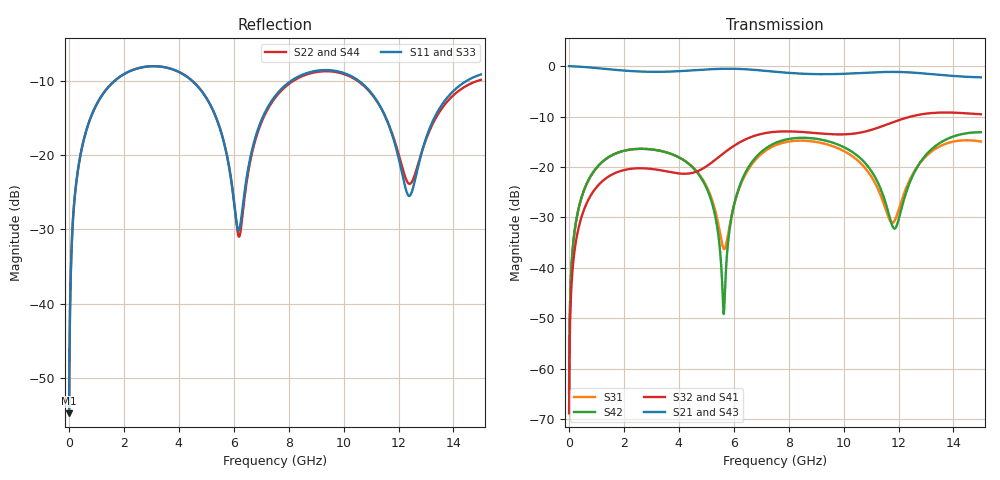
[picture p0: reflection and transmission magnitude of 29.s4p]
! Created with skrf 1.8.0 (http://scikit-rf.org).
# GHz S RI R 50.0
!freq ReS11 ImS11 ReS12 ImS12 ReS13 ImS13
! ReS14 ImS14
! ReS21 ImS21 ReS22 ImS22 ReS23 ImS23
! ReS24 ImS24
! ReS31 ImS31 ReS32 ImS32 ReS33 ImS33
! ReS34 ImS34
! ReS41 ImS41 ReS42 ImS42 ReS43 ImS43
! ReS44 ImS44
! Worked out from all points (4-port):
!   2499 points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, 5 MHz to 15 GHz, reference 50 ohm
!   strongest paths, dB at 5 MHz, 3.476 GHz, 7.19 GHz, 11.1 GHz, 15 GHz:
!     S21: 0.0, -1.1, -1.0, -1.2, -2.2
!     S43: 0.0, -1.1, -1.0, -1.2, -2.2
!     S32: -68.9, -20.8, -13.2, -12.5, -9.6
!     S41: -68.9, -20.8, -13.3, -12.5, -9.6
!     S42: -65.0, -17.0, -16.2, -21.6, -13.1
!     S31: -65.0, -17.0, -16.7, -22.7, -15.0
!   lowest |S11| = -54.8 dB at 5 MHz (marker M1), VSWR 1.00, Z = 50.1 + j0.111 ohm
!   |S11| at or under -10 dB: start of sweep to 1.67 GHz; 4.476 GHz to 8.101 GHz (3.625 GHz wide, 57.6 % of centre); 10.54 GHz to 14.5 GHz (3.951 GHz wide, 31.6 % of centre)
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0.005  0.00145 0.00111  0.9985 -0.00283  7.19e-05 0.00056  -6.99e-05 -0.000353
       0.9985 -0.00283  0.00145 0.00111  -6.99e-05 -0.000353  7.19e-05 0.00056
       7.19e-05 0.00056  -6.99e-05 -0.000353  0.00145 0.00111  0.9985 -0.00283
       -6.99e-05 -0.000353  7.19e-05 0.00056  0.9985 -0.00283  0.00145 0.00111
0.3126303  0.0196 0.0735  0.9734 -0.1768  0.0086 0.0337  -0.0072 -0.0211
           0.9734 -0.1768  0.0196 0.0735  -0.0072 -0.0211  0.0086 0.0337
           0.0086 0.0337  -0.0072 -0.0211  0.0196 0.0735  0.9734 -0.1768
           -0.0072 -0.0211  0.0086 0.0337  0.9734 -0.1768  0.0196 0.0735
1.569404  0.2375 0.1898  0.618 -0.6869  0.1121 0.0674  -0.0824 -0.017
          0.618 -0.6869  0.2375 0.1899  -0.0824 -0.017  0.112 0.0675
          0.1121 0.0674  -0.0824 -0.017  0.2376 0.1899  0.618 -0.6869
          -0.0824 -0.017  0.112 0.0675  0.618 -0.6869  0.2376 0.1899
5.633597  0.0598 -0.1073  -0.8806 -0.3326  -0.0147 -0.0047  -0.0444 0.1295
          -0.8806 -0.3326  0.0583 -0.1096  -0.0443 0.1296  -0.00343 -0.00061
          -0.0147 -0.0047  -0.0443 0.1296  0.0596 -0.1087  -0.8803 -0.3329
          -0.0444 0.1295  -0.00343 -0.00061  -0.8803 -0.3329  0.0595 -0.1106
6.659025  0.0612 0.0876  -0.9042 0.1782  0.0392 0.0988  0.0537 0.1917
          -0.9042 0.1782  0.0562 0.0847  0.054 0.1918  0.0569 0.0955
          0.0392 0.0988  0.054 0.1918  0.0596 0.0861  -0.9044 0.1777
          0.0537 0.1917  0.0569 0.0955  -0.9044 0.1777  0.0571 0.0828
9.635265  0.366 -0.0513  0.0238 0.8329  0.1401 -0.0763  0.1979 -0.0706
          0.0238 0.8329  0.361 -0.0391  0.1982 -0.0717  0.142 -0.0989
          0.1401 -0.0763  0.1982 -0.0717  0.3638 -0.0492  0.0244 0.8337
          0.1979 -0.0706  0.142 -0.0989  0.0244 0.8337  0.359 -0.0415
15  0.3402 0.0728  0.3399 -0.6949  0.1759 -0.0291  -0.323 -0.0786
    0.3399 -0.6949  0.3127 0.0689  -0.3237 -0.077  0.2023 -0.0891
    0.1759 -0.0291  -0.3237 -0.077  0.3369 0.0701  0.3388 -0.6969
    -0.323 -0.0786  0.2023 -0.0891  0.3388 -0.6969  0.3096 0.0675
